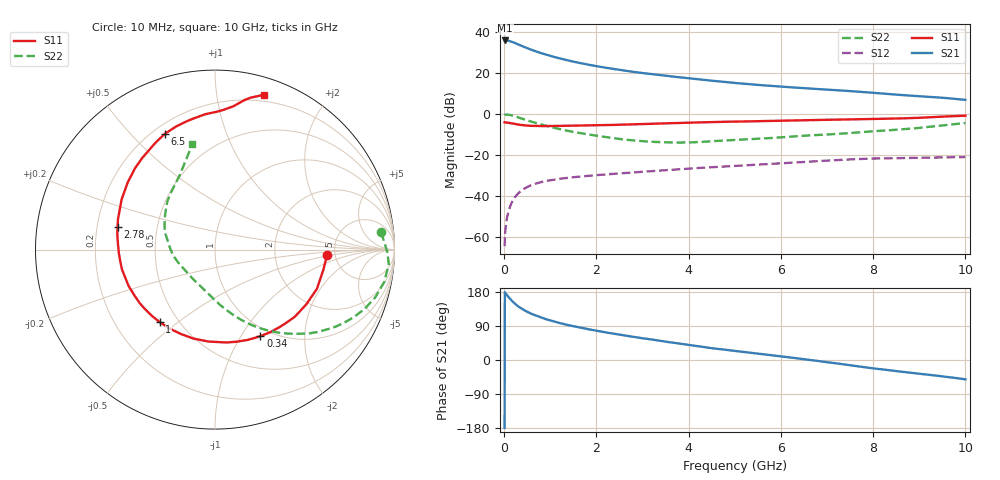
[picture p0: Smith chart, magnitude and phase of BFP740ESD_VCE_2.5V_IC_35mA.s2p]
! Infineon Technologies  Discrete & RF Semiconductors
! BFP740ESD
! VCE =  2.5 V,  IC =  35 mA
! Common Emitter S-Parameters:  Jan 2016
# GHz  S  MA  R  50
!  f  S11  S21  S12  S22
! GHz  MAG  ANG  MAG  ANG  MAG  ANG  MAG  ANG
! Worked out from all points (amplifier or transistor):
!   233 points, 10 MHz to 10 GHz, reference 50 ohm
!   highest |S21| = 35.8 dB at 20 MHz (marker M1)
!   |S21| within 3 dB of that: start of sweep to 416.6 MHz
!   unconditionally stable (mu >= 1): start of sweep to 10.81 MHz; 3.847 GHz to 6.774 GHz
!   at 200 MHz: K = 0.22, MSG = 38.3 dB, |S12| = -41.7 dB
!   at 1.74 GHz: K = 0.72, MSG = 27.4 dB, |S12| = -30.3 dB
!   at 10 GHz: K = 0.71, MSG = 13.9 dB, |S12| = -21.0 dB
!   S11 on the Smith chart (normalised r, x): 10 MHz: 4.28, -0.41; 340 MHz: 0.89, -1.22; 1 GHz: 0.40, -0.43; 2.78 GHz: 0.29, +0.10; 6.5 GHz: 0.25, +0.63; 10 GHz: 0.14, +1.36
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0.01  0.6241 -2.7  61.56 -179.2  0.0006 91.5  0.9311 5.9
0.02  0.6221 -4.2  61.73 177.2  0.0012 102.6  0.9602 -0.8
0.05  0.614 -10.7  61.66 172.7  0.0025 81.8  0.9719 -4.7
0.1  0.6086 -21.0  60.73 165.4  0.0044 81.1  0.9598 -10.9
0.16  0.5895 -32.8  57.72 157.2  0.0068 75.8  0.9248 -17.5
0.2  0.5812 -40.1  55.6 152.3  0.0082 73.1  0.8983 -21.4
0.24  0.5678 -46.7  53.08 147.9  0.0096 70.4  0.8692 -24.8
0.34  0.5441 -62.3  47.54 138.6  0.0126 64.9  0.798 -32.5
0.45  0.5271 -76.9  42.15 130.4  0.0154 59.9  0.7273 -39.3
0.6  0.5136 -93.9  36.27 121.3  0.0186 54.6  0.6432 -46.9
0.8  0.5071 -112.2  30.35 112.0  0.0218 49.2  0.5542 -55.3
1  0.508 -127.2  25.98 104.2  0.0243 45.4  0.4832 -62.4
1.32  0.5146 -145.4  20.95 94.0  0.0273 41.4  0.3999 -71.6
1.68  0.5231 -160.7  17.08 84.6  0.03 38.8  0.3358 -80.3
2.2  0.536 -177.9  13.37 72.9  0.0335 36.9  0.2734 -91.9
2.78  0.5572 167.1  10.69 61.5  0.0374 35.4  0.2269 -107.2
3.4  0.5841 153.9  8.775 50.4  0.042 33.9  0.2053 -125.1
5.1  0.6541 127.5  5.561 22.5  0.0548 27.6  0.2359 -172.9
6.5  0.7031 113.4  4.253 2.0  0.0676 21.0  0.2958 160.9
6.8  0.7121 109.8  4.044 -2.5  0.0708 18.8  0.3068 156.2
8.4  0.7689 89.0  3.015 -27.8  0.0833 4.0  0.4042 126.9
10  0.9058 72.4  2.203 -51.0  0.0891 -8.7  0.6002 102.2
